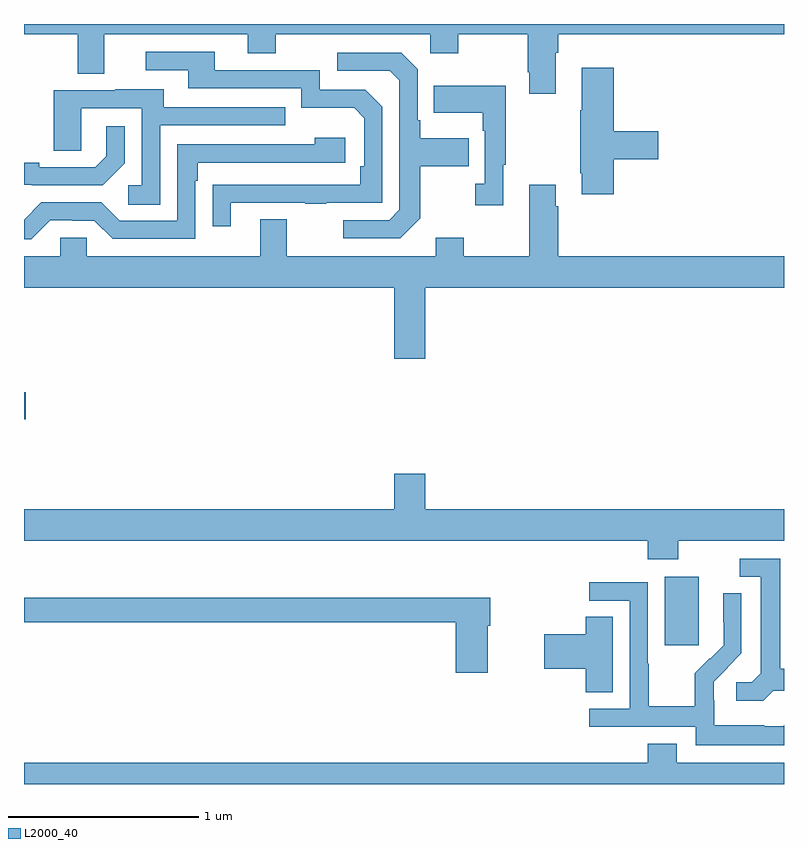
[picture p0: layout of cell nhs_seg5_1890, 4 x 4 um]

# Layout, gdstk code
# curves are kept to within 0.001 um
import gdstk
lib = gdstk.Library(unit=1e-6, precision=1e-09)
def R(c, l, rs):  # rectangles x0, y0, x1, y1
    for r in rs: c.add(gdstk.rectangle(r[:2], r[2:], *l))
def P(c, l, *ps):  # polygons
    for p in ps: c.add(gdstk.Polygon(p, *l))
L2000_40 = (2000, 40)

nhs_seg5_1890 = lib.new_cell('nhs_seg5_1890')
R(nhs_seg5_1890, L2000_40, [(226.373,869.529,226.552,869.89), (223,870.718,223.009,870.86)])
P(nhs_seg5_1890, L2000_40, [(225.799,872.648),(225.812,872.648),(225.812,872.744),(227,872.744),(227,872.799),(223,872.799),(223,872.744),(223.283,872.744),(223.283,872.536),(223.423,872.536),(223.423,872.744),(224.177,872.744),(224.177,872.645),(224.325,872.645),(224.325,872.744),(225.138,872.744),(225.138,872.645),(225.285,872.645),(225.285,872.744),(225.652,872.744),(225.652,872.545),(225.659,872.545),(225.659,872.433),(225.799,872.433)],
  [(224.089,871.857),(224.479,871.857),(224.479,871.852),(224.591,871.852),(224.591,871.857),(224.886,871.857),(224.886,872.364),(224.796,872.454),(224.556,872.454),(224.556,872.556),(224.005,872.556),(224.005,872.652),(223.641,872.652),(223.641,872.556),(223.865,872.556),(223.865,872.46),(224.46,872.46),(224.46,872.357),(224.737,872.357),(224.79,872.304),(224.79,872.05),(224.77,872.05),(224.77,871.953),(223.993,871.952),(223.993,871.734),(224.089,871.734)],
  [(225.085,871.777),(225.085,872.05),(225.341,872.05),(225.341,872.197),(225.085,872.197),(225.085,872.293),(225.072,872.293),(225.072,872.562),(224.985,872.649),(224.649,872.649),(224.649,872.553),(224.925,872.553),(224.976,872.502),(224.976,871.821),(224.922,871.767),(224.679,871.767),(224.679,871.671),(224.979,871.671)],
  [(226.103,872.087),(226.339,872.087),(226.339,872.234),(226.103,872.234),(226.103,872.569),(225.935,872.569),(225.935,872.345),(225.928,872.345),(225.928,872.014),(225.935,872.014),(225.935,871.902),(226.103,871.902)],
  [(225.523,872.057),(225.535,872.057),(225.535,872.473),(225.157,872.473),(225.157,872.333),(225.414,872.333),(225.414,872.237),(225.426,872.237),(225.426,871.958),(225.375,871.958),(225.375,871.845),(225.523,871.845)],
  [(223.716,872.265),(224.375,872.265),(224.375,872.361),(223.735,872.361),(223.735,872.455),(223.481,872.455),(223.481,872.451),(223.157,872.451),(223.157,872.131),(223.302,872.131),(223.302,872.355),(223.62,872.355),(223.62,871.95),(223.548,871.95),(223.548,871.849),(223.716,871.849)],
  [(223.53,872.066),(223.53,872.26),(223.433,872.26),(223.433,872.103),(223.376,872.046),(223.081,872.046),(223.081,872.069),(223,872.069),(223,871.953),(223.042,871.953),(223.042,871.95),(223.414,871.95)],
  [(223.137,871.767),(223.253,871.767),(223.253,871.764),(223.371,871.764),(223.467,871.668),(223.902,871.668),(223.902,871.973),(223.915,871.973),(223.915,872.07),(224.692,872.07),(224.692,872.2),(224.531,872.2),(224.531,872.166),(223.806,872.166),(223.806,871.764),(223.503,871.764),(223.407,871.86),(223.092,871.86),(223,871.768),(223,871.667),(223.037,871.667)],
  [(225.112,871.412),(227,871.412),(227,871.576),(225.812,871.576),(225.812,871.841),(225.799,871.841),(225.799,871.954),(225.659,871.954),(225.659,871.576),(225.315,871.576),(225.315,871.675),(225.167,871.675),(225.167,871.576),(224.383,871.576),(224.383,871.771),(224.243,871.771),(224.243,871.576),(223.329,871.576),(223.329,871.674),(223.191,871.674),(223.191,871.576),(223,871.576),(223,871.412),(224.948,871.412),(224.948,871.038),(225.112,871.038)],
  [(226.443,870.08),(227,870.08),(227,870.244),(225.112,870.244),(225.112,870.433),(224.948,870.433),(224.948,870.244),(223,870.244),(223,870.08),(226.283,870.08),(226.283,869.981),(226.443,869.981)],
  [(226.944,869.289),(227,869.289),(227,869.405),(226.981,869.405),(226.981,869.985),(226.767,869.985),(226.767,869.889),(226.877,869.889),(226.877,869.381),(226.83,869.334),(226.749,869.334),(226.749,869.237),(226.892,869.237)],
  [(227,869.108),(226.995,869.103),(226.895,869.103),(226.895,869.107),(226.632,869.107),(226.632,869.241),(226.63,869.241),(226.63,869.338),(226.776,869.486),(226.776,869.804),(226.68,869.804),(226.68,869.65),(226.682,869.65),(226.682,869.528),(226.611,869.457),(226.608,869.46),(226.531,869.383),(226.531,869.209),(226.287,869.209),(226.287,869.432),(226.284,869.432),(226.284,869.862),(225.975,869.862),(225.975,869.763),(226.188,869.763),(226.188,869.196),(225.975,869.196),(225.975,869.1),(226.536,869.1),(226.536,869.003),(227,869.003)],
  [(225.442,869.633),(225.455,869.633),(225.455,869.779),(223,869.779),(223,869.65),(225.272,869.65),(225.272,869.385),(225.442,869.385)],
  [(226.099,869.678),(225.956,869.678),(225.956,869.588),(225.738,869.588),(225.738,869.405),(225.956,869.405),(225.956,869.281),(226.099,869.281)],
  [(227,868.912),(226.435,868.912),(226.435,869.011),(226.283,869.011),(226.283,868.912),(223,868.912),(223,868.799),(227,868.799)])

lib.write_gds('nhs_seg5_1890.gds')
